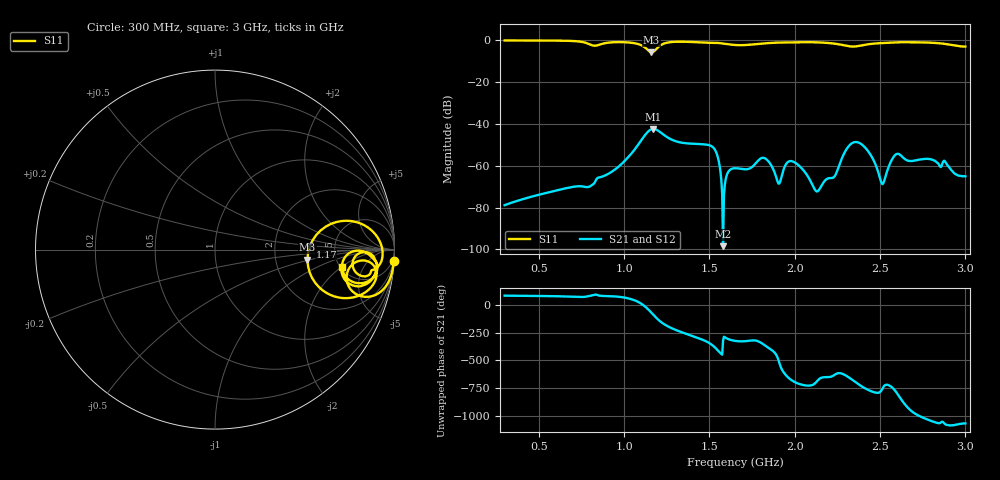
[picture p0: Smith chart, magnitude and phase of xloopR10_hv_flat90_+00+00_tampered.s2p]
! xloopR10_hv_flat90_+00+00_tampered, gap C 0.80 pF
! simulated by sim/fixtures_fdtd.py (S12 = S21, S22 not computed)
# HZ S RI R 50
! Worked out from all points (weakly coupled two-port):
!   541 points, 300 MHz to 3 GHz, reference 50 ohm
!   highest |S21| = -42.35 dB at 1.17 GHz (marker M1); lowest = -98.5 dB at 1.58 GHz (marker M2)
!   lowest |S11| = -5.7 dB at 1.16 GHz (marker M3), VSWR 3.15, Z = 154 - j23.5 ohm
!   |S11| at or under -10 dB: nowhere
!   |S22| runs from - to - dB; largest |S21 - S12| = 0
!   S11 on the Smith chart (normalised r, x): 300 MHz: 1, -33; 1.17 GHz: 3.23, +0.16; 3 GHz: 5.09, -2.06
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3e8  0.9972 -0.0608  5.5e-06 0.000114  5.5e-06 0.000114  0 0
7.5e8  0.8918 -0.2534  8.21e-05 0.000312  8.21e-05 0.000312  0 0
9.6e8  0.9003 -0.1405  0.000181 0.00088  0.000181 0.00088  0 0
1.16e9  0.5152 -0.0561  0.00291 -0.00688  0.00291 -0.00688  0 0
1.17e9  0.5279 0.0174  0.000829 -0.00758  0.000829 -0.00758  0 0
1.2e9  0.6744 0.1531  -0.00447 -0.00527  -0.00447 -0.00527  0 0
1.52e9  0.8693 -0.1212  0.00279 -0.00023  0.00279 -0.00023  0 0
1.55e9  0.8588 -0.14  0.00102 -0.0012  0.00102 -0.0012  0 0
1.58e9  0.8277 -0.149  9.2e-06 7.6e-06  9.2e-06 7.6e-06  0 0
1.61e9  0.7974 -0.138  0.000417 0.000576  0.000417 0.000576  0 0
1.65e9  0.7716 -0.1062  0.000693 0.000533  0.000693 0.000533  0 0
1.82e9  0.8483 -0.0157  0.00154 7.33e-05  0.00154 7.33e-05  0 0
1.905e9  0.8868 -0.044  -0.000278 -0.000252  -0.000278 -0.000252  0 0
1.985e9  0.9001 -0.0721  0.00102 0.000784  0.00102 0.000784  0 0
2.1e9  0.8975 -0.1313  0.000375 -2.49e-05  0.000375 -2.49e-05  0 0
2.23e9  0.8195 -0.1868  3.28e-05 0.000537  3.28e-05 0.000537  0 0
2.35e9  0.7124 -0.0657  0.00318 0.00186  0.00318 0.00186  0 0
2.435e9  0.8152 -0.00772  0.00135 -0.0016  0.00135 -0.0016  0 0
2.51e9  0.8635 -0.033  0.000262 -0.000271  0.000262 -0.000271  0 0
2.55e9  0.8784 -0.0475  0.000937 -5.76e-05  0.000937 -5.76e-05  0 0
2.605e9  0.8985 -0.0731  1.58e-05 -0.00194  1.58e-05 -0.00194  0 0
3e9  0.7052 -0.0995  0.000549 9.73e-05  0.000549 9.73e-05  0 0
